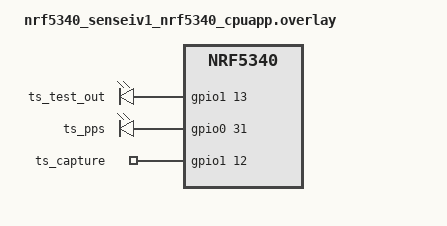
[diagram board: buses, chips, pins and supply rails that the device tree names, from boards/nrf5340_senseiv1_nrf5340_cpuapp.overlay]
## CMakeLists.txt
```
# SPDX-FileCopyrightText: 2026 ETH Zurich and University of Bologna
# SPDX-License-Identifier: Apache-2.0
#
# Authors:
# - Philip Wiese <wiesep@iis.ee.ethz.ch>

cmake_minimum_required(VERSION 3.20.0)

# Setup SENSEI SDK
set(SENSEI_SDK_ROOT $ENV{SENSEI_SDK_ROOT})
if(NOT SENSEI_SDK_ROOT)
    message(FATAL_ERROR "SENSEI_SDK_ROOT is not defined")
endif()

list(APPEND EXTRA_ZEPHYR_MODULES
    ${SENSEI_SDK_ROOT}/NRF
)

# Configure the project
find_package(Zephyr REQUIRED HINTS $ENV{ZEPHYR_BASE})
project(ble_timesync)

target_sources(app PRIVATE
    src/main.c
    src/report.c
)
target_sources_ifdef(CONFIG_SENSEI_TIMESYNC_MASTER app PRIVATE
    src/master.c
    src/measure.c
)
target_sources_ifdef(CONFIG_SENSEI_TIMESYNC_FOLLOWER app PRIVATE
    src/follower.c
)

target_include_directories(app PRIVATE
    src
)
```

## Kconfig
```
# SPDX-FileCopyrightText: 2026 ETH Zurich and University of Bologna
# SPDX-License-Identifier: Apache-2.0
#
# Authors:
# - Philip Wiese <wiesep@iis.ee.ethz.ch>

mainmenu "BLE time synchronization example"

config APP_CONN_INTERVAL_MS
	int "Connection interval of the master (ms)"
	default 100
	range 10 4000
	depends on SENSEI_TIMESYNC_MASTER
	help
	  Interval of the connections to the followers (latency 0). One anchor point per interval.
	  A multiple of 5 ms avoids rounding.

config APP_TEST_PULSE
	bool "Drive the test pulse (master)"
	default y
	depends on SENSEI_TIMESYNC_MASTER
	help
	  The master raises the pin ts-test-out at irregular times. Wire it to ts-capture of every board.

config APP_TEST_PULSE_BASE_MS
	int "Shortest time between test pulses (ms)"
	default 1000
	range 100 60000
	depends on APP_TEST_PULSE

config APP_TEST_PULSE_JITTER_MS
	int "Random extra time between test pulses (ms)"
	default 600
	range 1 60000
	depends on APP_TEST_PULSE
	help
	  The time between pulses is the base plus a random value below this. Irregular pulses do not beat
	  against the 1 s sample period or the PPS.

config APP_MATCH_WINDOW_MS
	int "Match window for a follower report (ms)"
	default 50
	depends on SENSEI_TIMESYNC_MASTER
	help
	  A follower report belongs to the master capture closest in global time, if it is within this window.

config APP_STATS_EVERY
	int "Print the statistics of a follower every N matches"
	default 20
	range 1 100000
	depends on SENSEI_TIMESYNC_MASTER

config APP_PPS_PULSE_WIDTH_US
	int "PPS pulse width (us), 0 = toggle every period"
	default 0
	range 0 250000
	help
	  0: the PPS pin toggles every 500 ms (50 % duty). Otherwise it is high for this long after every
	  multiple of 500 ms (sensei_ts_pps_start_pulse(), at least 100 us).

config APP_STATUS_PERIOD_S
	int "Period of the status log (s)"
	default 10
	range 1 3600

module = APP
module-str = Application
source "subsys/logging/Kconfig.template.log_config"

source "Kconfig.zephyr"
```

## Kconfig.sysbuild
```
# SPDX-FileCopyrightText: 2026 ETH Zurich and University of Bologna
# SPDX-License-Identifier: Apache-2.0
#
# Authors:
# - Philip Wiese <wiesep@iis.ee.ethz.ch>

# The network core runs the NCS ipc_radio image (Bluetooth controller, HCI over IPC).
# Its settings are in sysbuild/ipc_radio.conf.
config NRF_DEFAULT_IPC_RADIO
	default y

config NETCORE_IPC_RADIO_BT_HCI_IPC
	default y

source "share/sysbuild/Kconfig"
```

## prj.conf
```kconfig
# SPDX-FileCopyrightText: 2026 ETH Zurich and University of Bologna
# SPDX-License-Identifier: Apache-2.0
#
# Authors:
# - Philip Wiese <wiesep@iis.ee.ethz.ch>

## Time synchronization library (role: master.conf or follower.conf) ##
CONFIG_SENSEI_TIMESYNC=y

## Bluetooth ##
CONFIG_BT=y
CONFIG_BT_DEVICE_NAME="SENSEI-TS"
CONFIG_BT_HCI_VS_EVT_USER=y
# The central sets the connection parameters. A peripheral that asks for others would change the timing.
CONFIG_BT_GAP_AUTO_UPDATE_CONN_PARAMS=n
CONFIG_BT_USER_PHY_UPDATE=y
CONFIG_BT_GATT_CLIENT=y
CONFIG_BT_GATT_AUTO_DISCOVER_CCC=y

## Logging on RTT ##
CONFIG_USE_SEGGER_RTT=y
CONFIG_RTT_CONSOLE=y
CONFIG_CONSOLE=y
CONFIG_UART_CONSOLE=n
CONFIG_LOG=y
CONFIG_LOG_MODE_DEFERRED=y
CONFIG_LOG_BACKEND_RTT=y
CONFIG_LOG_BACKEND_UART=n
CONFIG_LOG_PRINTK=y

## Application ##
CONFIG_GPIO=y
CONFIG_MAIN_STACK_SIZE=2048
CONFIG_SYSTEM_WORKQUEUE_STACK_SIZE=2048
CONFIG_HEAP_MEM_POOL_SIZE=4096

# Per-match logging (master): uncomment
# CONFIG_APP_LOG_LEVEL_DBG=y
```

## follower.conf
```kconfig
# SPDX-FileCopyrightText: 2026 ETH Zurich and University of Bologna
# SPDX-License-Identifier: Apache-2.0
#
# Authors:
# - Philip Wiese <wiesep@iis.ee.ethz.ch>

# Role: BLE peripheral, follows the master time.
CONFIG_SENSEI_TIMESYNC_FOLLOWER=y
CONFIG_BT_PERIPHERAL=y
CONFIG_BT_MAX_CONN=1
```

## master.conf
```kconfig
# SPDX-FileCopyrightText: 2026 ETH Zurich and University of Bologna
# SPDX-License-Identifier: Apache-2.0
#
# Authors:
# - Philip Wiese <wiesep@iis.ee.ethz.ch>

# Role: BLE central, time reference, test pulse generator, measurement.
CONFIG_SENSEI_TIMESYNC_MASTER=y
CONFIG_BT_CENTRAL=y
CONFIG_BT_MAX_CONN=4
CONFIG_SENSEI_TIMESYNC_MAX_FOLLOWERS=4
```

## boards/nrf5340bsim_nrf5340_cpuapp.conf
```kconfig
# SPDX-FileCopyrightText: 2026 ETH Zurich and University of Bologna
# SPDX-License-Identifier: Apache-2.0
#
# Authors:
# - Philip Wiese <wiesep@iis.ee.ethz.ch>

# BabbleSim: log to the native console, not RTT.
CONFIG_USE_SEGGER_RTT=n
CONFIG_RTT_CONSOLE=n
CONFIG_LOG_BACKEND_RTT=n
CONFIG_LOG_BACKEND_UART=y
CONFIG_UART_CONSOLE=y

# The nRF5340 HW models are compiled with the network core layout of NRF_TIMER_Type (8 bytes larger than the application
# core one), so the application core TIMER1 and TIMER2 registers are misaligned in the model. TIMER0 is at offset 0.
CONFIG_SENSEI_TIMESYNC_TIMER=0

# The HW models run on a 1 us grid: a TIMER compare closer than 2 us (32 counts) to the end of an RTC tick can come after
# the clear by the next tick and is lost.
CONFIG_SENSEI_TIMESYNC_PPS_GUARD_COUNTS=32
```

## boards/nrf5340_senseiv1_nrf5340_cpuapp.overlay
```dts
// SPDX-FileCopyrightText: 2026 ETH Zurich and University of Bologna
// SPDX-License-Identifier: Apache-2.0
//
// Authors:
// - Philip Wiese <wiesep@iis.ee.ethz.ch>

/*
 * Time sync pins (SENSEI base board: P1.13 = J2.25, P1.12 = J2.23, P0.31 = J1.2).
 * ts-test-out: test pulse (master output). Wire to ts-capture of every board.
 * ts-capture:  edge timestamped in hardware (input, pull-down).
 * ts-pps:      timed output, rising edge on every full global second (500 ms period).
 */
/ {
	ts_pins: ts_pins {
		compatible = "gpio-leds";

		ts_test_out: ts_test_out {
			gpios = <&gpio1 13 GPIO_ACTIVE_HIGH>;
		};
		ts_pps: ts_pps {
			gpios = <&gpio0 31 GPIO_ACTIVE_HIGH>;
		};
	};

	ts_inputs: ts_inputs {
		compatible = "gpio-keys";

		ts_capture: ts_capture {
			gpios = <&gpio1 12 (GPIO_ACTIVE_HIGH | GPIO_PULL_DOWN)>;
		};
	};

	aliases {
		ts-test-out = &ts_test_out;
		ts-capture = &ts_capture;
		ts-pps = &ts_pps;
	};
};
```

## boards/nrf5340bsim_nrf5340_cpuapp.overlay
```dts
// SPDX-FileCopyrightText: 2026 ETH Zurich and University of Bologna
// SPDX-License-Identifier: Apache-2.0
//
// Authors:
// - Philip Wiese <wiesep@iis.ee.ethz.ch>

/*
 * BabbleSim (nrf5340bsim) pins, the same as the nRF5340 DK: P1.04 test pulse, P1.05 capture, P1.06 PPS.
 * Nothing is wired between simulated devices; the PPS pin is logged by the GPIO model (-gpio_out_file).
 */
/ {
	ts_pins: ts_pins {
		compatible = "gpio-leds";

		ts_test_out: ts_test_out {
			gpios = <&gpio1 4 GPIO_ACTIVE_HIGH>;
		};
		ts_pps: ts_pps {
			gpios = <&gpio1 6 GPIO_ACTIVE_HIGH>;
		};
	};

	ts_inputs: ts_inputs {
		compatible = "gpio-keys";

		ts_capture: ts_capture {
			gpios = <&gpio1 5 (GPIO_ACTIVE_HIGH | GPIO_PULL_DOWN)>;
		};
	};

	aliases {
		ts-test-out = &ts_test_out;
		ts-capture = &ts_capture;
		ts-pps = &ts_pps;
	};
};
```

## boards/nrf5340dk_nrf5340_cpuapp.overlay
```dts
// SPDX-FileCopyrightText: 2026 ETH Zurich and University of Bologna
// SPDX-License-Identifier: Apache-2.0
//
// Authors:
// - Philip Wiese <wiesep@iis.ee.ethz.ch>

/*
 * Time sync pins (nRF5340 DK: P1.04 = D2, P1.05 = D3, P1.06 = D4 (Arduino header)).
 * ts-test-out: test pulse (master output). Wire to ts-capture of every board.
 * ts-capture:  edge timestamped in hardware (input, pull-down).
 * ts-pps:      timed output, rising edge on every full global second (500 ms period).
 */
/ {
	ts_pins: ts_pins {
		compatible = "gpio-leds";

		ts_test_out: ts_test_out {
			gpios = <&gpio1 4 GPIO_ACTIVE_HIGH>;
		};
		ts_pps: ts_pps {
			gpios = <&gpio1 6 GPIO_ACTIVE_HIGH>;
		};
	};

	ts_inputs: ts_inputs {
		compatible = "gpio-keys";

		ts_capture: ts_capture {
			gpios = <&gpio1 5 (GPIO_ACTIVE_HIGH | GPIO_PULL_DOWN)>;
		};
	};

	aliases {
		ts-test-out = &ts_test_out;
		ts-capture = &ts_capture;
		ts-pps = &ts_pps;
	};
};
```

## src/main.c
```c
/*
 * SPDX-FileCopyrightText: 2026 ETH Zurich and University of Bologna
 * SPDX-License-Identifier: Apache-2.0
 *
 * Authors:
 * - Philip Wiese <wiesep@iis.ee.ethz.ch>
 */

#include <math.h>
#include <stdio.h>
#include <stdlib.h>

#include <zephyr/kernel.h>
#include <zephyr/logging/log.h>

#include "app.h"

LOG_MODULE_REGISTER(app, CONFIG_APP_LOG_LEVEL);

BUILD_ASSERT(IS_ENABLED(CONFIG_SENSEI_TIMESYNC_MASTER) != IS_ENABLED(CONFIG_SENSEI_TIMESYNC_FOLLOWER),
             "Select exactly one role: master.conf or follower.conf");

const struct gpio_dt_spec app_pin_pps = GPIO_DT_SPEC_GET(DT_ALIAS(ts_pps), gpios);
const struct gpio_dt_spec app_pin_capture = GPIO_DT_SPEC_GET(DT_ALIAS(ts_capture), gpios);
const struct gpio_dt_spec app_pin_test_out = GPIO_DT_SPEC_GET(DT_ALIAS(ts_test_out), gpios);

#define PPS_PERIOD_NS 500000000ULL

static struct k_work_delayable status_work;

static void ppm_str(char *buf, size_t len, double ppm) {
  long milli = lround(ppm * 1000.0);

  snprintf(buf, len, "%s%ld.%03ld", milli < 0 ? "-" : "", labs(milli) / 1000, labs(milli) % 1000);
}

static void on_state(enum sensei_ts_state state) { LOG_INF("Time sync state: %s", app_state_str(state)); }

static void status_fn(struct k_work *work) {
  struct sensei_ts_status st;
  struct sensei_ts_time now;
  char ppm[16];

  sensei_ts_status_get(&st);
  ppm_str(ppm, sizeof(ppm), st.rate_ppm);
  if (sensei_ts_now(&now) != 0) {
    now.uncert_ns = 0;
  }

  LOG_INF("Status: %s, points %u, rate %s ppm, resid %u ns, uncert %u ns", app_state_str(st.state), st.points, ppm,
          st.resid_ns, now.uncert_ns);
  LOG_INF("        samples %u, points added %u, outliers %u, resets %u", st.samples_rx, st.points_added, st.outliers,
          st.resets);

  k_work_reschedule(&status_work, K_SECONDS(CONFIG_APP_STATUS_PERIOD_S));
}

int main(void) {
  int err;

  LOG_INF("BLE time sync example, role %s", IS_ENABLED(CONFIG_SENSEI_TIMESYNC_MASTER) ? "master" : "follower");

  err = bt_enable(NULL);
  if (err) {
    LOG_ERR("bt_enable failed (%d)", err);
    return err;
  }

  err = sensei_ts_ble_init();
  if (err) {
    LOG_ERR("sensei_ts_ble_init failed (%d): check sysbuild/ipc_radio.conf", err);
    return err;
  }
  sensei_ts_state_cb_set(on_state);

  /* The PPS pin toggles at multiples of 500 ms in global time (or, with APP_PPS_PULSE_WIDTH_US, pulses high for that
   * long at multiples of 500 ms), whenever there is a global time. */
  if (CONFIG_APP_PPS_PULSE_WIDTH_US > 0) {
    err = sensei_ts_pps_start_pulse(&app_pin_pps, PPS_PERIOD_NS, (uint64_t)CONFIG_APP_PPS_PULSE_WIDTH_US * 1000ULL);
  } else {
    err = sensei_ts_pps_start(&app_pin_pps, PPS_PERIOD_NS);
  }
  if (err) {
    LOG_ERR("PPS start failed (%d)", err);
  }

  k_work_init_delayable(&status_work, status_fn);
  k_work_schedule(&status_work, K_SECONDS(CONFIG_APP_STATUS_PERIOD_S));

  app_role_run();
  return 0;
}
```

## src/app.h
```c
/*
 * SPDX-FileCopyrightText: 2026 ETH Zurich and University of Bologna
 * SPDX-License-Identifier: Apache-2.0
 *
 * Authors:
 * - Philip Wiese <wiesep@iis.ee.ethz.ch>
 */

/**
 * @file app.h
 * @brief Shared declarations of the time sync example.
 */

#ifndef APP_H_
#define APP_H_

#include <stdint.h>

#include <zephyr/bluetooth/bluetooth.h>
#include <zephyr/bluetooth/conn.h>
#include <zephyr/drivers/gpio.h>

#include "sensei_timesync/timesync.h"

/* Report service of this example (not part of the library): the follower notifies the global time of every edge. */
#define APP_REPORT_SVC_UUID_VAL BT_UUID_128_ENCODE(0xc0f5a4f0, 0x7d1b, 0x4c8e, 0x9a51, 0x3e2f6b7d8a10)
#define APP_REPORT_CHR_UUID_VAL BT_UUID_128_ENCODE(0xc0f5a4f1, 0x7d1b, 0x4c8e, 0x9a51, 0x3e2f6b7d8a10)

/** Size of the report on the air: seq u32, global_ns u64, uncert_ns u32, state u8 (little endian). */
#define APP_REPORT_LEN 17

/** An edge seen by a follower, in global time. */
struct app_report {
  uint32_t seq;       /**< counts every captured edge of the follower, also those without global time */
  uint64_t global_ns; /**< global time of the edge */
  uint32_t uncert_ns; /**< uncertainty of the global time */
  uint8_t state;      /**< enum sensei_ts_state of the follower */
};

void app_report_pack(const struct app_report *r, uint8_t buf[APP_REPORT_LEN]);

/** @retval 0, or -EINVAL if len is wrong */
int app_report_unpack(const uint8_t *buf, uint16_t len, struct app_report *r);

const char *app_state_str(enum sensei_ts_state state);

/* Pins from the devicetree aliases ts-pps, ts-capture, ts-test-out. */
extern const struct gpio_dt_spec app_pin_pps;
extern const struct gpio_dt_spec app_pin_capture;
extern const struct gpio_dt_spec app_pin_test_out;

/** Role entry: starts the role and never returns (it runs in the main thread). */
void app_role_run(void);

/* Master only (measure.c). */

/** The master captured an edge at global time ns (interrupt context). */
void measure_capture_add(uint64_t global_ns);

/** A follower reported an edge (Bluetooth thread). idx: connection index of the follower. */
void measure_report(uint8_t idx, const struct app_report *r);

void measure_follower_add(uint8_t idx, const bt_addr_le_t *addr);
void measure_follower_remove(uint8_t idx);

/** Log the statistics of all followers. */
void measure_print_all(void);

/** Restart the statistics of all followers (the connections stay). */
void measure_reset_all(void);

#endif /* APP_H_ */
```

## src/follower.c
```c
/*
 * SPDX-FileCopyrightText: 2026 ETH Zurich and University of Bologna
 * SPDX-License-Identifier: Apache-2.0
 *
 * Authors:
 * - Philip Wiese <wiesep@iis.ee.ethz.ch>
 */

/**
 * @file follower.c
 * @brief Follower role: advertise, report the global time of every captured edge to the master.
 */

#include <zephyr/bluetooth/gatt.h>
#include <zephyr/kernel.h>
#include <zephyr/logging/log.h>

#include "app.h"

LOG_MODULE_DECLARE(app, CONFIG_APP_LOG_LEVEL);

static const struct bt_uuid_128 report_chr_uuid = BT_UUID_INIT_128(APP_REPORT_CHR_UUID_VAL);

K_MSGQ_DEFINE(report_q, sizeof(struct app_report), 8, 4);

static uint32_t edge_seq;
static uint32_t dropped;

/* ---- Report service ---- */

static void ccc_changed(const struct bt_gatt_attr *attr, uint16_t value) {
  LOG_INF("Master %s edge reports", value == BT_GATT_CCC_NOTIFY ? "subscribed to" : "unsubscribed from");
}

BT_GATT_SERVICE_DEFINE(report_svc, BT_GATT_PRIMARY_SERVICE(BT_UUID_DECLARE_128(APP_REPORT_SVC_UUID_VAL)),
                       BT_GATT_CHARACTERISTIC(BT_UUID_DECLARE_128(APP_REPORT_CHR_UUID_VAL), BT_GATT_CHRC_NOTIFY,
                                              BT_GATT_PERM_NONE, NULL, NULL, NULL),
                       BT_GATT_CCC(ccc_changed, BT_GATT_PERM_READ | BT_GATT_PERM_WRITE));

/* ---- Advertising ---- */

static const struct bt_data ad[] = {
    BT_DATA_BYTES(BT_DATA_FLAGS, (BT_LE_AD_GENERAL | BT_LE_AD_NO_BREDR)),
    BT_DATA_BYTES(BT_DATA_UUID128_ALL, SENSEI_TS_SVC_UUID_VAL),
};

static const struct bt_data sd[] = {
    BT_DATA(BT_DATA_NAME_COMPLETE, CONFIG_BT_DEVICE_NAME, sizeof(CONFIG_BT_DEVICE_NAME) - 1),
};

static void advertise(void) {
  int err = bt_le_adv_start(BT_LE_ADV_CONN_FAST_2, ad, ARRAY_SIZE(ad), sd, ARRAY_SIZE(sd));

  if (err && err != -EALREADY) {
    LOG_ERR("Advertising failed (%d)", err);
  } else {
    LOG_INF("Advertising the time sync service");
  }
}

static void on_connected(struct bt_conn *conn, uint8_t err) {
  char str[BT_ADDR_LE_STR_LEN];

  bt_addr_le_to_str(bt_conn_get_dst(conn), str, sizeof(str));
  if (err) {
    LOG_ERR("Connection from %s failed (0x%02x)", str, err);
  } else {
    LOG_INF("Connected to master %s", str);
  }
}

static void on_disconnected(struct bt_conn *conn, uint8_t reason) { LOG_INF("Disconnected (reason 0x%02x)", reason); }

static void on_recycled(void) { advertise(); }

static void on_le_param_updated(struct bt_conn *conn, uint16_t interval, uint16_t latency, uint16_t timeout) {
  LOG_INF("Connection interval %u.%02u ms, latency %u", interval * 5 / 4, (interval * 125) % 100, latency);
}

BT_CONN_CB_DEFINE(follower_conn_cb) = {
    .connected = on_connected,
    .disconnected = on_disconnected,
    .recycled = on_recycled,
    .le_param_updated = on_le_param_updated,
};

/* ---- Capture ---- */

static void capture_cb(uint8_t channel, uint64_t local_ns, void *user) {
  struct sensei_ts_time t;
  struct app_report r = {.seq = ++edge_seq};

  /* Convert here with the model of this moment. Edges without global time only advance the sequence number. */
  if (sensei_ts_local_to_global(local_ns, &t) != 0) {
    return;
  }
  r.global_ns = t.ns;
  r.uncert_ns = t.uncert_ns;
  r.state = t.state;
  if (k_msgq_put(&report_q, &r, K_NO_WAIT) != 0) {
    dropped++;
  }
}

void app_role_run(void) {
  struct app_report r;
  uint8_t buf[APP_REPORT_LEN];
  int err;

  err = sensei_ts_capture_start(0, &app_pin_capture, GPIO_INT_EDGE_RISING, capture_cb, NULL);
  if (err) {
    LOG_ERR("Capture start failed (%d)", err);
  }

  advertise();

  while (true) {
    k_msgq_get(&report_q, &r, K_FOREVER);
    app_report_pack(&r, buf);
    err = bt_gatt_notify_uuid(NULL, &report_chr_uuid.uuid, report_svc.attrs, buf, sizeof(buf));
    if (err) {
      LOG_WRN("Report %u not sent (%d)", r.seq, err);
    } else {
      LOG_DBG("Edge %u: global %llu ns, uncert %u ns, %s", r.seq, (unsigned long long)r.global_ns, r.uncert_ns,
              app_state_str(r.state));
    }
    if (dropped) {
      LOG_WRN("%u reports dropped (queue full)", dropped);
      dropped = 0;
    }
  }
}
```

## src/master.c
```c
/*
 * SPDX-FileCopyrightText: 2026 ETH Zurich and University of Bologna
 * SPDX-License-Identifier: Apache-2.0
 *
 * Authors:
 * - Philip Wiese <wiesep@iis.ee.ethz.ch>
 */

/**
 * @file master.c
 * @brief Master role: scan and connect to the followers, test pulse, own capture.
 */

#include <string.h>

#include <zephyr/bluetooth/gatt.h>
#include <zephyr/kernel.h>
#include <zephyr/logging/log.h>
#include <zephyr/random/random.h>

#include "app.h"

LOG_MODULE_DECLARE(app, CONFIG_APP_LOG_LEVEL);

#define MAX_FOLLOWERS CONFIG_SENSEI_TIMESYNC_MAX_FOLLOWERS
#define CONN_TIMEOUT_10MS 400 /* supervision timeout 4 s */
#define DISCOVER_RETRY_MS 500
#define DISCOVER_TRIES 20
#define TEST_PULSE_WIDTH_MS 2

static const struct bt_uuid_128 ts_svc_uuid = BT_UUID_INIT_128(SENSEI_TS_SVC_UUID_VAL);
static const struct bt_uuid_128 report_chr_uuid = BT_UUID_INIT_128(APP_REPORT_CHR_UUID_VAL);

struct follower {
  struct bt_conn *conn;
  struct k_work_delayable discover_work;
  struct bt_gatt_discover_params discover;
  struct bt_gatt_subscribe_params subscribe;
  struct bt_gatt_discover_params ccc_discover;
  uint8_t tries;
};

static struct follower followers[CONFIG_BT_MAX_CONN];
static atomic_t n_followers;
static atomic_t connecting;

static void scan_start(void);

/* ---- Report subscription ---- */

static uint8_t on_notify(struct bt_conn *conn, struct bt_gatt_subscribe_params *params, const void *data,
                         uint16_t length) {
  struct app_report r;

  if (data == NULL) {
    LOG_INF("F%u: report unsubscribed", bt_conn_index(conn));
    return BT_GATT_ITER_STOP;
  }
  if (app_report_unpack(data, length, &r) != 0) {
    LOG_WRN("F%u: report of %u bytes ignored", bt_conn_index(conn), length);
    return BT_GATT_ITER_CONTINUE;
  }
  measure_report(bt_conn_index(conn), &r);
  return BT_GATT_ITER_CONTINUE;
}

static void on_subscribed(struct bt_conn *conn, uint8_t err, struct bt_gatt_subscribe_params *params) {
  if (err) {
    LOG_ERR("F%u: subscribe failed (0x%02x)", bt_conn_index(conn), err);
  } else {
    LOG_INF("F%u: subscribed to edge reports", bt_conn_index(conn));
  }
}

static uint8_t on_discover(struct bt_conn *conn, const struct bt_gatt_attr *attr,
                           struct bt_gatt_discover_params *params) {
  struct follower *f = &followers[bt_conn_index(conn)];
  int err;

  if (attr == NULL) {
    LOG_WRN("F%u: report characteristic not found", bt_conn_index(conn));
    return BT_GATT_ITER_STOP;
  }

  memset(&f->subscribe, 0, sizeof(f->subscribe));
  f->subscribe.notify = on_notify;
  f->subscribe.subscribe = on_subscribed;
  f->subscribe.value = BT_GATT_CCC_NOTIFY;
  f->subscribe.value_handle = bt_gatt_attr_value_handle(attr);
  /* ccc_handle 0: the host finds the CCC descriptor after the value (BT_GATT_AUTO_DISCOVER_CCC). */
  f->subscribe.ccc_handle = 0;
  f->subscribe.end_handle = BT_ATT_LAST_ATTRIBUTE_HANDLE;
  f->subscribe.disc_params = &f->ccc_discover;

  err = bt_gatt_subscribe(conn, &f->subscribe);
  if (err && err != -EALREADY) {
    LOG_ERR("F%u: bt_gatt_subscribe failed (%d)", bt_conn_index(conn), err);
  }
  return BT_GATT_ITER_STOP;
}

/* The library discovers its own service on the same connection. Try again while that is going on. */
static void discover_fn(struct k_work *work) {
  struct k_work_delayable *dwork = k_work_delayable_from_work(work);
  struct follower *f = CONTAINER_OF(dwork, struct follower, discover_work);
  int err;

  if (f->conn == NULL) {
    return;
  }

  memset(&f->discover, 0, sizeof(f->discover));
  f->discover.uuid = &report_chr_uuid.uuid;
  f->discover.func = on_discover;
  f->discover.start_handle = BT_ATT_FIRST_ATTRIBUTE_HANDLE;
  f->discover.end_handle = BT_ATT_LAST_ATTRIBUTE_HANDLE;
  f->discover.type = BT_GATT_DISCOVER_CHARACTERISTIC;

  err = bt_gatt_discover(f->conn, &f->discover);
  if (err) {
    if (++f->tries < DISCOVER_TRIES) {
      k_work_reschedule(dwork, K_MSEC(DISCOVER_RETRY_MS));
    } else {
      LOG_ERR("F%u: discovery failed (%d)", bt_conn_index(f->conn), err);
    }
  }
}

/* ---- Connections ---- */

static bool ad_has_ts_uuid(struct bt_data *data, void *user_data) {
  bool *found = user_data;

  if ((data->type == BT_DATA_UUID128_ALL || data->type == BT_DATA_UUID128_SOME) && data->data_len % 16 == 0) {
    for (uint8_t i = 0; i < data->data_len; i += 16) {
      if (memcmp(&data->data[i], ts_svc_uuid.val, 16) == 0) {
        *found = true;
        return false;
      }
    }
  }
  return true;
}

static void on_scan(const bt_addr_le_t *addr, int8_t rssi, uint8_t type, struct net_buf_simple *ad) {
  struct bt_conn *conn = NULL;
  bool found = false;
  char str[BT_ADDR_LE_STR_LEN];
  int err;

  if (type != BT_GAP_ADV_TYPE_ADV_IND) {
    return;
  }
  bt_data_parse(ad, ad_has_ts_uuid, &found);
  if (!found || !atomic_cas(&connecting, 0, 1)) {
    return;
  }

  bt_addr_le_to_str(addr, str, sizeof(str));
  LOG_INF("Found follower %s (rssi %d), connecting", str, rssi);

  err = bt_le_scan_stop();
  if (err) {
    LOG_ERR("Scan stop failed (%d)", err);
    atomic_clear(&connecting);
    return;
  }

  struct bt_le_conn_param param =
      BT_LE_CONN_PARAM_INIT(BT_GAP_MS_TO_CONN_INTERVAL(CONFIG_APP_CONN_INTERVAL_MS),
                            BT_GAP_MS_TO_CONN_INTERVAL(CONFIG_APP_CONN_INTERVAL_MS), 0, CONN_TIMEOUT_10MS);

  err = bt_conn_le_create(addr, BT_CONN_LE_CREATE_CONN, &param, &conn);
  if (err) {
    LOG_ERR("Connection create failed (%d)", err);
    atomic_clear(&connecting);
    scan_start();
    return;
  }
  /* The reference of bt_conn_le_create() is kept until the disconnection (connected() on error). */
}

static void scan_start(void) {
  int err;

  if (atomic_get(&n_followers) >= MAX_FOLLOWERS) {
    return;
  }
  err = bt_le_scan_start(BT_LE_SCAN_PASSIVE, on_scan);
  if (err && err != -EALREADY) {
    LOG_ERR("Scan start failed (%d)", err);
  }
}

static void on_connected(struct bt_conn *conn, uint8_t err) {
  uint8_t idx = bt_conn_index(conn);
  struct follower *f = &followers[idx];
  char str[BT_ADDR_LE_STR_LEN];

  bt_addr_le_to_str(bt_conn_get_dst(conn), str, sizeof(str));
  atomic_clear(&connecting);

  if (err) {
    LOG_ERR("Connection to %s failed (0x%02x)", str, err);
    bt_conn_unref(conn);
    scan_start();
    return;
  }

  LOG_INF("F%u connected: %s", idx, str);
  atomic_inc(&n_followers);

  memset(&f->subscribe, 0, sizeof(f->subscribe));
  f->conn = conn;
  f->tries = 0;
  measure_follower_add(idx, bt_conn_get_dst(conn));

  err = sensei_ts_master_attach(conn);
  if (err) {
    LOG_ERR("F%u: sensei_ts_master_attach failed (%d)", idx, err);
  }

  err = bt_conn_le_phy_update(conn, BT_CONN_LE_PHY_PARAM_2M);
  if (err) {
    LOG_WRN("F%u: PHY update failed (%d)", idx, err);
  }

  k_work_reschedule(&f->discover_work, K_MSEC(DISCOVER_RETRY_MS));
  scan_start();
}

static void on_disconnected(struct bt_conn *conn, uint8_t reason) {
  uint8_t idx = bt_conn_index(conn);
  struct follower *f = &followers[idx];

  LOG_INF("F%u disconnected (reason 0x%02x)", idx, reason);
  k_work_cancel_delayable(&f->discover_work);
  measure_follower_remove(idx);
  f->conn = NULL;
  atomic_dec(&n_followers);
  bt_conn_unref(conn);
  scan_start();
}

static void on_le_param_updated(struct bt_conn *conn, uint16_t interval, uint16_t latency, uint16_t timeout) {
  LOG_INF("F%u: connection interval %u.%02u ms, latency %u", bt_conn_index(conn), interval * 5 / 4,
          (interval * 125) % 100, latency);
}

static void on_le_phy_updated(struct bt_conn *conn, struct bt_conn_le_phy_info *param) {
  LOG_INF("F%u: PHY tx %u rx %u (2 = 2M)", bt_conn_index(conn), param->tx_phy, param->rx_phy);
}

BT_CONN_CB_DEFINE(master_conn_cb) = {
    .connected = on_connected,
    .disconnected = on_disconnected,
    .le_param_updated = on_le_param_updated,
    .le_phy_updated = on_le_phy_updated,
};

/* ---- Capture, test pulse, button ---- */

static void capture_cb(uint8_t channel, uint64_t local_ns, void *user) {
  struct sensei_ts_time t;

  /* Global time == local time on the master. */
  if (sensei_ts_local_to_global(local_ns, &t) == 0) {
    measure_capture_add(t.ns);
  }
}

static void print_work_fn(struct k_work *work) { measure_print_all(); }

#if DT_NODE_HAS_STATUS_OKAY(DT_ALIAS(sw0))
static K_WORK_DEFINE(print_work, print_work_fn);
static const struct gpio_dt_spec button = GPIO_DT_SPEC_GET(DT_ALIAS(sw0), gpios);
static struct gpio_callback button_cb;

static void button_pressed(const struct device *dev, struct gpio_callback *cb, uint32_t pins) {
  k_work_submit(&print_work);
}

static void button_init(void) {
  if (!gpio_is_ready_dt(&button) || gpio_pin_configure_dt(&button, GPIO_INPUT) != 0) {
    return;
  }
  gpio_init_callback(&button_cb, button_pressed, BIT(button.pin));
  gpio_add_callback(button.port, &button_cb);
  gpio_pin_interrupt_configure_dt(&button, GPIO_INT_EDGE_TO_ACTIVE);
  LOG_INF("Button sw0: print and restart the statistics");
}
#else
static void button_init(void) {}
#endif

static void test_pulse(void) {
  uint32_t wait_ms = CONFIG_APP_TEST_PULSE_BASE_MS + sys_rand32_get() % CONFIG_APP_TEST_PULSE_JITTER_MS;

  k_msleep(wait_ms);
  gpio_pin_set_dt(&app_pin_test_out, 1);
  k_msleep(TEST_PULSE_WIDTH_MS);
  gpio_pin_set_dt(&app_pin_test_out, 0);
}

void app_role_run(void) {
  int err;

  for (size_t i = 0; i < ARRAY_SIZE(followers); i++) {
    k_work_init_delayable(&followers[i].discover_work, discover_fn);
  }

  err = sensei_ts_capture_start(0, &app_pin_capture, GPIO_INT_EDGE_RISING, capture_cb, NULL);
  if (err) {
    LOG_ERR("Capture start failed (%d)", err);
  }

  if (IS_ENABLED(CONFIG_APP_TEST_PULSE)) {
    err = gpio_pin_configure_dt(&app_pin_test_out, GPIO_OUTPUT_INACTIVE);
    if (err) {
      LOG_ERR("Test pulse pin failed (%d)", err);
    }
  }

  button_init();
  scan_start();

  while (true) {
    if (IS_ENABLED(CONFIG_APP_TEST_PULSE)) {
      test_pulse();
    } else {
      k_sleep(K_FOREVER);
    }
  }
}
```

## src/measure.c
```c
/*
 * SPDX-FileCopyrightText: 2026 ETH Zurich and University of Bologna
 * SPDX-License-Identifier: Apache-2.0
 *
 * Authors:
 * - Philip Wiese <wiesep@iis.ee.ethz.ch>
 */

/**
 * @file measure.c
 * @brief Master: match follower reports to the own capture of the same edge and keep statistics of the error.
 *
 * The edge carries no data. A report belongs to the master capture closest in global time, if it is within
 * CONFIG_APP_MATCH_WINDOW_MS. The error is follower global time minus master global time: positive means the
 * follower clock is ahead.
 */

#include <math.h>
#include <string.h>

#include <zephyr/kernel.h>
#include <zephyr/logging/log.h>

#include "app.h"

LOG_MODULE_DECLARE(app, CONFIG_APP_LOG_LEVEL);

#define CAPTURE_RING 16
#define WINDOW_NS ((int64_t)CONFIG_APP_MATCH_WINDOW_MS * 1000000)

struct stat_entry {
  bool used;
  char addr[BT_ADDR_LE_STR_LEN];
  uint32_t n;          /* matched, synced reports in the statistics */
  uint32_t missed;     /* reports missing in the sequence of the follower */
  uint32_t not_synced; /* reports of a follower that was not SYNCED */
  uint32_t unmatched;  /* synced reports without a master capture in the window */
  uint32_t last_seq;
  bool have_seq;
  uint32_t last_uncert_ns;
  double mean;
  double m2; /* sum of squared differences from the mean (Welford) */
  int64_t min;
  int64_t max;
};

static struct k_spinlock lock;
static uint64_t ring[CAPTURE_RING];
static uint8_t ring_fill;
static uint8_t ring_head;
static struct stat_entry stats[CONFIG_BT_MAX_CONN];

void measure_capture_add(uint64_t global_ns) {
  K_SPINLOCK(&lock) {
    ring[ring_head] = global_ns;
    ring_head = (ring_head + 1) % CAPTURE_RING;
    if (ring_fill < CAPTURE_RING) {
      ring_fill++;
    }
  }
}

/* Master capture closest to ns within the window (lock held). */
static bool find_capture(uint64_t ns, uint64_t *master_ns) {
  bool found = false;
  int64_t best = WINDOW_NS;

  for (uint8_t i = 0; i < ring_fill; i++) {
    int64_t d = (int64_t)(ns - ring[i]);

    if (d < 0) {
      d = -d;
    }
    if (d < best) {
      best = d;
      *master_ns = ring[i];
      found = true;
    }
  }
  return found;
}

static void print_entry(uint8_t idx, const struct stat_entry *s) {
  if (s->n == 0) {
    LOG_INF("F%u %s: no matches yet (not synced %u, unmatched %u, missed %u)", idx, s->addr, s->not_synced,
            s->unmatched, s->missed);
    return;
  }
  long long std = s->n > 1 ? llround(sqrt(s->m2 / (s->n - 1))) : 0;

  LOG_INF("F%u %s: n %u, mean %lld ns, std %lld ns, min %lld ns, max %lld ns, uncert %u ns, missed %u, "
          "not synced %u, unmatched %u",
          idx, s->addr, s->n, llround(s->mean), std, (long long)s->min, (long long)s->max, s->last_uncert_ns, s->missed,
          s->not_synced, s->unmatched);
}

void measure_follower_add(uint8_t idx, const bt_addr_le_t *addr) {
  if (idx >= ARRAY_SIZE(stats)) {
    return;
  }
  K_SPINLOCK(&lock) {
    memset(&stats[idx], 0, sizeof(stats[idx]));
    stats[idx].used = true;
    bt_addr_le_to_str(addr, stats[idx].addr, sizeof(stats[idx].addr));
  }
}

void measure_follower_remove(uint8_t idx) {
  struct stat_entry copy;

  if (idx >= ARRAY_SIZE(stats)) {
    return;
  }
  K_SPINLOCK(&lock) {
    copy = stats[idx];
    stats[idx].used = false;
  }
  if (copy.used) {
    print_entry(idx, &copy);
  }
}

void measure_report(uint8_t idx, const struct app_report *r) {
  struct stat_entry copy = {0};
  bool print = false;
  bool matched = false;
  int64_t err = 0;

  if (idx >= ARRAY_SIZE(stats)) {
    return;
  }

  K_SPINLOCK(&lock) {
    struct stat_entry *s = &stats[idx];
    uint64_t master_ns;

    if (!s->used) {
      K_SPINLOCK_BREAK;
    }

    if (s->have_seq) {
      uint32_t gap = r->seq - s->last_seq - 1;

      /* A large gap is a restart of the follower, not lost reports. */
      if (gap > 0 && gap < 1000) {
        s->missed += gap;
      }
    }
    s->have_seq = true;
    s->last_seq = r->seq;
    s->last_uncert_ns = r->uncert_ns;

    if (r->state != SENSEI_TS_SYNCED) {
      s->not_synced++;
    } else if (!find_capture(r->global_ns, &master_ns)) {
      s->unmatched++;
    } else {
      double d;

      err = (int64_t)(r->global_ns - master_ns);
      matched = true;
      if (s->n == 0 || err < s->min) {
        s->min = err;
      }
      if (s->n == 0 || err > s->max) {
        s->max = err;
      }
      s->n++;
      d = (double)err - s->mean;
      s->mean += d / s->n;
      s->m2 += d * ((double)err - s->mean);
      print = (s->n % CONFIG_APP_STATS_EVERY) == 0;
    }
    copy = *s;
  }

  if (matched) {
    LOG_DBG("F%u seq %u: error %lld ns (follower uncert %u ns)", idx, r->seq, (long long)err, r->uncert_ns);
  } else {
    LOG_DBG("F%u seq %u: not used (state %s)", idx, r->seq, app_state_str(r->state));
  }
  if (print) {
    print_entry(idx, &copy);
  }
}

void measure_print_all(void) {
  struct stat_entry copy[CONFIG_BT_MAX_CONN];

  K_SPINLOCK(&lock) { memcpy(copy, stats, sizeof(copy)); }
  bool any = false;

  for (uint8_t i = 0; i < ARRAY_SIZE(copy); i++) {
    if (copy[i].used) {
      print_entry(i, &copy[i]);
      any = true;
    }
  }
  if (!any) {
    LOG_INF("No follower connected");
  }
}

void measure_reset_all(void) {
  K_SPINLOCK(&lock) {
    for (uint8_t i = 0; i < ARRAY_SIZE(stats); i++) {
      if (stats[i].used) {
        char addr[BT_ADDR_LE_STR_LEN];

        memcpy(addr, stats[i].addr, sizeof(addr));
        memset(&stats[i], 0, sizeof(stats[i]));
        stats[i].used = true;
        memcpy(stats[i].addr, addr, sizeof(addr));
      }
    }
  }
}
```

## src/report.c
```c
/*
 * SPDX-FileCopyrightText: 2026 ETH Zurich and University of Bologna
 * SPDX-License-Identifier: Apache-2.0
 *
 * Authors:
 * - Philip Wiese <wiesep@iis.ee.ethz.ch>
 */

#include <errno.h>

#include <zephyr/sys/byteorder.h>

#include "app.h"

void app_report_pack(const struct app_report *r, uint8_t buf[APP_REPORT_LEN]) {
  sys_put_le32(r->seq, &buf[0]);
  sys_put_le64(r->global_ns, &buf[4]);
  sys_put_le32(r->uncert_ns, &buf[12]);
  buf[16] = r->state;
}

int app_report_unpack(const uint8_t *buf, uint16_t len, struct app_report *r) {
  if (len != APP_REPORT_LEN) {
    return -EINVAL;
  }
  r->seq = sys_get_le32(&buf[0]);
  r->global_ns = sys_get_le64(&buf[4]);
  r->uncert_ns = sys_get_le32(&buf[12]);
  r->state = buf[16];
  return 0;
}

const char *app_state_str(enum sensei_ts_state state) {
  switch (state) {
  case SENSEI_TS_UNSYNCED:
    return "UNSYNCED";
  case SENSEI_TS_SYNCED:
    return "SYNCED";
  case SENSEI_TS_HOLDOVER:
    return "HOLDOVER";
  case SENSEI_TS_MASTER:
    return "MASTER";
  }
  return "?";
}
```
